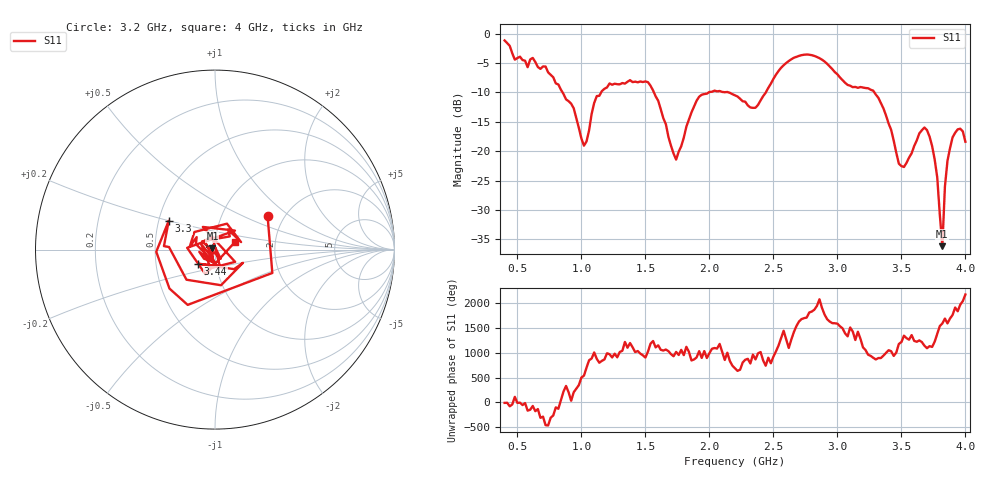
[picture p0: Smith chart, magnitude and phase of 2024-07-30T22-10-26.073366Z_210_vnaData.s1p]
!Created with skrf (http://scikit-rf.org).
# Hz S RI R 50.0
!freq ReS11 ImS11
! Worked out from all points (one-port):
!   181 points, 400 MHz to 4 GHz, reference 50 ohm
!   lowest |S11| = -36.2 dB at 3.82 GHz (marker M1), VSWR 1.03, Z = 48.6 + j0.62 ohm
!   |S11| at or under -10 dB: 853.1 MHz to 1.154 GHz (301 MHz wide, 30 % of centre); 1.567 GHz to 1.994 GHz (427.2 MHz wide, 24 % of centre); 3.289 GHz to end of sweep (the widest 3 of 4)
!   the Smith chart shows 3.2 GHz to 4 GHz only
!   S11 on the Smith chart (normalised r, x): 3.2 GHz: 1.64, +0.70; 3.3 GHz: 0.56, +0.20; 3.44 GHz: 0.82, -0.13; 4 GHz: 1.25, +0.11
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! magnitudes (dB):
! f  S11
! 400 MHz  -1.1
! 860 MHz  -10.2
! 940 MHz  -12.7
! 1.02 GHz  -19.1
! 1.12 GHz  -10.6
! 1.3 GHz  -8.6
! 1.52 GHz  -8.3
! 1.74 GHz  -21.4
! 1.76 GHz  -20.1
! 1.92 GHz  -10.7
! 2.2 GHz  -10.5
! 2.36 GHz  -12.6
! 2.66 GHz  -4.1
! 2.86 GHz  -4.2
! 3.1 GHz  -8.9
! 3.2 GHz  -9.2
! 3.3 GHz  -10.4
! 3.44 GHz  -18.2
! 3.48 GHz  -22.1
! 3.56 GHz  -21.1
! 3.68 GHz  -16.0
! 3.72 GHz  -17.5
! 3.78 GHz  -24.4
! 3.82 GHz  -36.2
! 3.84 GHz  -26.0
! 3.88 GHz  -19.5
! 3.94 GHz  -16.3
! 4 GHz  -18.4
